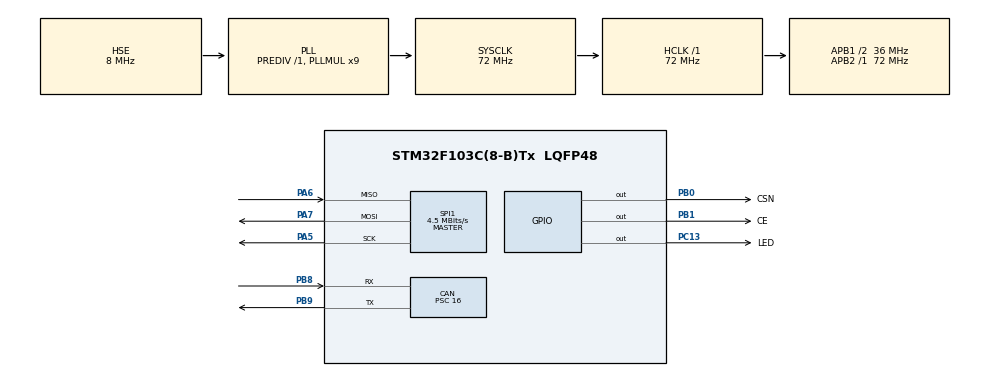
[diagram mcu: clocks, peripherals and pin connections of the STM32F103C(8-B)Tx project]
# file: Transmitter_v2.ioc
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CAN.BS1=CAN_BS1_15TQ
CAN.BS2=CAN_BS2_2TQ
CAN.CalculateBaudRate=125000
CAN.CalculateTimeBit=8000
CAN.CalculateTimeQuantum=444.44444444444446
CAN.Mode=CAN_MODE_NORMAL
CAN.Prescaler=16
Mcu.Family=STM32F1
Mcu.Name=STM32F103C(8-B)Tx
Mcu.Package=LQFP48
NVIC.PriorityGroup=NVIC_PRIORITYGROUP_4
PA13.Mode=Serial_Wire
PA13.Signal=SYS_JTMS-SWDIO
PA14.Mode=Serial_Wire
PA14.Signal=SYS_JTCK-SWCLK
PA5.Mode=Full_Duplex_Master
PA5.Signal=SPI1_SCK
PA6.Mode=Full_Duplex_Master
PA6.Signal=SPI1_MISO
PA7.Mode=Full_Duplex_Master
PA7.Signal=SPI1_MOSI
PB0.GPIO_Label=CSN
PB0.Signal=GPIO_Output
PB1.GPIO_Label=CE
PB1.Signal=GPIO_Output
PB8.Mode=CAN_Activate
PB8.Signal=CAN_RX
PB9.Mode=CAN_Activate
PB9.Signal=CAN_TX
PC13-TAMPER-RTC.GPIO_Label=LED
PC13-TAMPER-RTC.Signal=GPIO_Output
PD0-OSC_IN.Mode=HSE-External-Oscillator
PD0-OSC_IN.Signal=RCC_OSC_IN
PD1-OSC_OUT.Mode=HSE-External-Oscillator
PD1-OSC_OUT.Signal=RCC_OSC_OUT
ProjectManager.HeapSize=0x200
ProjectManager.StackSize=0x400
ProjectManager.TargetToolchain=MDK-ARM V5.32
RCC.AHBFreq_Value=72000000
RCC.APB1CLKDivider=RCC_HCLK_DIV2
RCC.APB1Freq_Value=36000000
RCC.APB1TimFreq_Value=72000000
RCC.APB2Freq_Value=72000000
RCC.APB2TimFreq_Value=72000000
RCC.HCLKFreq_Value=72000000
RCC.PLLMUL=RCC_PLL_MUL9
RCC.PLLSourceVirtual=RCC_PLLSOURCE_HSE
RCC.SYSCLKFreq_VALUE=72000000
RCC.SYSCLKSource=RCC_SYSCLKSOURCE_PLLCLK
RCC.USBFreq_Value=72000000
SPI1.BaudRatePrescaler=SPI_BAUDRATEPRESCALER_16
SPI1.CalculateBaudRate=4.5 MBits/s
SPI1.Direction=SPI_DIRECTION_2LINES
SPI1.Mode=SPI_MODE_MASTER
SPI1.VirtualType=VM_MASTER
board=custom

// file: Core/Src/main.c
/* USER CODE BEGIN Header */
/**
  ******************************************************************************
  * @file           : main.c
  * @brief          : Main program body
  ******************************************************************************
  * @attention
  *
  * Copyright (c) 2022 STMicroelectronics.
  * All rights reserved.
  *
  * This software is licensed under terms that can be found in the LICENSE file
  * in the root directory of this software component.
  * If no LICENSE file comes with this software, it is provided AS-IS.
  *
  ******************************************************************************
  */
/* USER CODE END Header */
#include "main.h"

/* USER CODE BEGIN Includes */

#include "NRF24L01.h"
#include "stdio.h"
#include "string.h"

/* USER CODE END Includes */

 CAN_HandleTypeDef hcan;

SPI_HandleTypeDef hspi1;

void SystemClock_Config(void);
static void MX_GPIO_Init(void);
static void MX_SPI1_Init(void);
static void MX_CAN_Init(void);

/* USER CODE BEGIN 0 */

uint8_t TxAdress[] = {'A','S','U','R','T'};

CAN_RxHeaderTypeDef msgRx;

CAN_FilterTypeDef canFilter;

uint32_t mailbox;

uint8_t RecMesgFromCAN[8];
uint8_t TranMesgToNRF[9];
uint16_t RPM;
/* USER CODE END 0 */

int main(void)
{

  /* MCU Configuration--------------------------------------------------------*/

  /* Reset of all peripherals, Initializes the Flash interface and the Systick. */
  HAL_Init();

  /* Configure the system clock */
  SystemClock_Config();

  /* Initialize all configured peripherals */
  MX_GPIO_Init();
  MX_SPI1_Init();
  MX_CAN_Init();
  /* USER CODE BEGIN 2 */

  HAL_NRF24_init();

	HAL_NRF24_TXModeConfig(TxAdress,123); // Channel Number is 123

	/*---------------- CAN Config Filter ------------------------*/

	canFilter.FilterActivation=CAN_FILTER_ENABLE;

	canFilter.FilterFIFOAssignment=CAN_FILTER_FIFO0;

	canFilter.FilterScale=CAN_FILTERSCALE_32BIT;

	canFilter.FilterMode=CAN_FILTERMODE_IDMASK;

	canFilter.FilterMaskIdLow=0;

	canFilter.FilterMaskIdHigh=0;

	canFilter.FilterIdHigh=0;

	canFilter.FilterIdLow=0;

	canFilter.FilterBank=2;

	canFilter.SlaveStartFilterBank=14;

	HAL_CAN_ConfigFilter(&hcan,&canFilter);

	HAL_CAN_Start(&hcan);

  /* USER CODE END 2 */

  /* Infinite loop */
  /* USER CODE BEGIN WHILE */
  while (1)
  {

		while( ! ( HAL_CAN_GetRxFifoFillLevel(&hcan,CAN_RX_FIFO0)));

		HAL_CAN_GetRxMessage(&hcan,CAN_RX_FIFO0,&msgRx,RecMesgFromCAN);
		RPM = RecMesgFromCAN[1] | (RecMesgFromCAN[0] << 8);
		TranMesgToNRF[0] = ((msgRx.StdId) & 0xFF); // Get CAN ID

		for(int i = 0 ; i <=7 ;i++)
		   TranMesgToNRF[i+1] = RecMesgFromCAN[i];
		//TranMesgToNRF[0] = 0x50;
		//TranMesgToNRF[2] = 0x01;
	  //TranMesgToNRF[3] = 0x58;

		HAL_NRF24_transmitData(TranMesgToNRF);
   	//HAL_Delay(100);

		/*
		if(  ( HAL_CAN_GetRxFifoFillLevel(&hcan,CAN_RX_FIFO0)))
	{
		if( ! ( HAL_CAN_GetRxFifoFillLevel(&hcan,CAN_RX_FIFO0)));
		HAL_CAN_GetRxMessage(&hcan,CAN_RX_FIFO0,&msgRx,RecMesgFromCAN);
		HAL_GPIO_TogglePin(GPIOC, GPIO_PIN_13);

	}
		*/
    /* USER CODE END WHILE */

  }
}

void SystemClock_Config(void)
{
  RCC_OscInitTypeDef RCC_OscInitStruct = {0};
  RCC_ClkInitTypeDef RCC_ClkInitStruct = {0};

  /** Initializes the RCC Oscillators according to the specified parameters
  * in the RCC_OscInitTypeDef structure.
  */
  RCC_OscInitStruct.OscillatorType = RCC_OSCILLATORTYPE_HSE;
  RCC_OscInitStruct.HSEState = RCC_HSE_ON;
  RCC_OscInitStruct.HSEPredivValue = RCC_HSE_PREDIV_DIV1;
  RCC_OscInitStruct.HSIState = RCC_HSI_ON;
  RCC_OscInitStruct.PLL.PLLState = RCC_PLL_ON;
  RCC_OscInitStruct.PLL.PLLSource = RCC_PLLSOURCE_HSE;
  RCC_OscInitStruct.PLL.PLLMUL = RCC_PLL_MUL9;
  if (HAL_RCC_OscConfig(&RCC_OscInitStruct) != HAL_OK)
  {
    Error_Handler();
  }

  /** Initializes the CPU, AHB and APB buses clocks
  */
  RCC_ClkInitStruct.ClockType = RCC_CLOCKTYPE_HCLK|RCC_CLOCKTYPE_SYSCLK
                              |RCC_CLOCKTYPE_PCLK1|RCC_CLOCKTYPE_PCLK2;
  RCC_ClkInitStruct.SYSCLKSource = RCC_SYSCLKSOURCE_PLLCLK;
  RCC_ClkInitStruct.AHBCLKDivider = RCC_SYSCLK_DIV1;
  RCC_ClkInitStruct.APB1CLKDivider = RCC_HCLK_DIV2;
  RCC_ClkInitStruct.APB2CLKDivider = RCC_HCLK_DIV1;

  if (HAL_RCC_ClockConfig(&RCC_ClkInitStruct, FLASH_LATENCY_2) != HAL_OK)
  {
    Error_Handler();
  }
}

static void MX_CAN_Init(void)
{

  hcan.Instance = CAN1;
  hcan.Init.Prescaler = 16;
  hcan.Init.Mode = CAN_MODE_NORMAL;
  hcan.Init.SyncJumpWidth = CAN_SJW_1TQ;
  hcan.Init.TimeSeg1 = CAN_BS1_15TQ;
  hcan.Init.TimeSeg2 = CAN_BS2_2TQ;
  hcan.Init.TimeTriggeredMode = DISABLE;
  hcan.Init.AutoBusOff = DISABLE;
  hcan.Init.AutoWakeUp = DISABLE;
  hcan.Init.AutoRetransmission = DISABLE;
  hcan.Init.ReceiveFifoLocked = DISABLE;
  hcan.Init.TransmitFifoPriority = DISABLE;
  if (HAL_CAN_Init(&hcan) != HAL_OK)
  {
    Error_Handler();
  }

}

static void MX_SPI1_Init(void)
{

  /* SPI1 parameter configuration*/
  hspi1.Instance = SPI1;
  hspi1.Init.Mode = SPI_MODE_MASTER;
  hspi1.Init.Direction = SPI_DIRECTION_2LINES;
  hspi1.Init.DataSize = SPI_DATASIZE_8BIT;
  hspi1.Init.CLKPolarity = SPI_POLARITY_LOW;
  hspi1.Init.CLKPhase = SPI_PHASE_1EDGE;
  hspi1.Init.NSS = SPI_NSS_SOFT;
  hspi1.Init.BaudRatePrescaler = SPI_BAUDRATEPRESCALER_16;
  hspi1.Init.FirstBit = SPI_FIRSTBIT_MSB;
  hspi1.Init.TIMode = SPI_TIMODE_DISABLE;
  hspi1.Init.CRCCalculation = SPI_CRCCALCULATION_DISABLE;
  hspi1.Init.CRCPolynomial = 10;
  if (HAL_SPI_Init(&hspi1) != HAL_OK)
  {
    Error_Handler();
  }

}

static void MX_GPIO_Init(void)
{
  GPIO_InitTypeDef GPIO_InitStruct = {0};

  /* GPIO Ports Clock Enable */
  __HAL_RCC_GPIOC_CLK_ENABLE();
  __HAL_RCC_GPIOD_CLK_ENABLE();
  __HAL_RCC_GPIOA_CLK_ENABLE();
  __HAL_RCC_GPIOB_CLK_ENABLE();

  /*Configure GPIO pin Output Level */
  HAL_GPIO_WritePin(LED_GPIO_Port, LED_Pin, GPIO_PIN_RESET);

  /*Configure GPIO pin Output Level */
  HAL_GPIO_WritePin(GPIOB, CSN_Pin|CE_Pin, GPIO_PIN_RESET);

  /*Configure GPIO pin : LED_Pin */
  GPIO_InitStruct.Pin = LED_Pin;
  GPIO_InitStruct.Mode = GPIO_MODE_OUTPUT_PP;
  GPIO_InitStruct.Pull = GPIO_NOPULL;
  GPIO_InitStruct.Speed = GPIO_SPEED_FREQ_LOW;
  HAL_GPIO_Init(LED_GPIO_Port, &GPIO_InitStruct);

  /*Configure GPIO pins : CSN_Pin CE_Pin */
  GPIO_InitStruct.Pin = CSN_Pin|CE_Pin;
  GPIO_InitStruct.Mode = GPIO_MODE_OUTPUT_PP;
  GPIO_InitStruct.Pull = GPIO_NOPULL;
  GPIO_InitStruct.Speed = GPIO_SPEED_FREQ_LOW;
  HAL_GPIO_Init(GPIOB, &GPIO_InitStruct);

}

void Error_Handler(void)
{
  __disable_irq();
  while (1)
  {
  }
}
